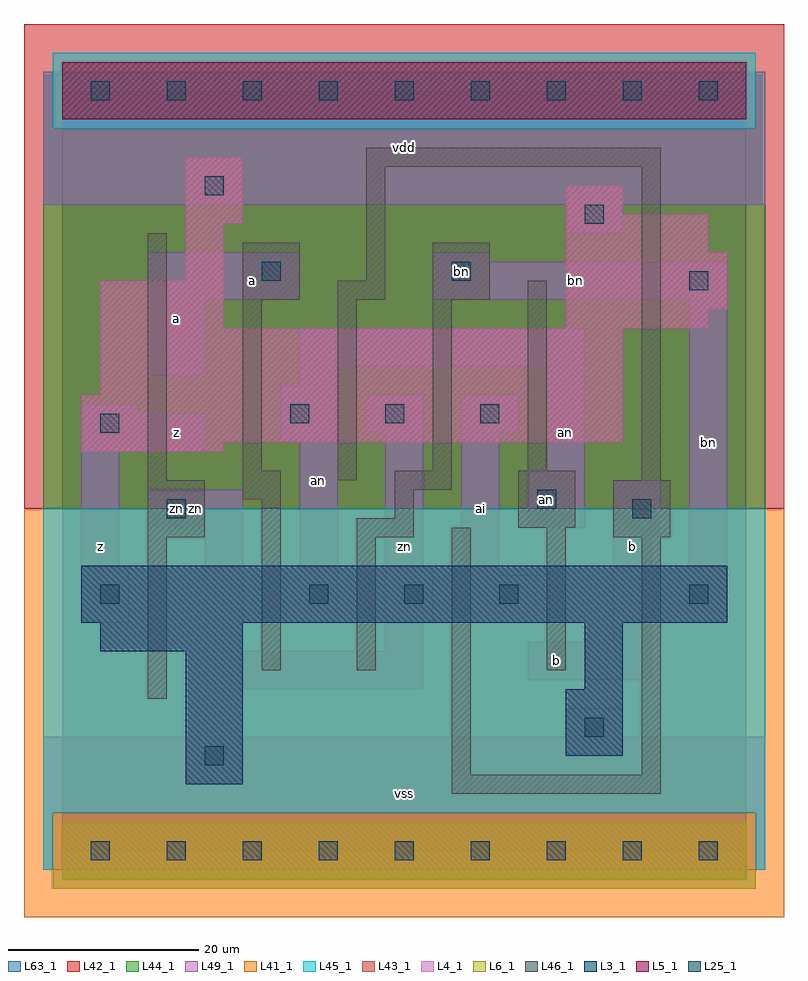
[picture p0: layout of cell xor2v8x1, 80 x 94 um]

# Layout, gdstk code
import gdstk
lib = gdstk.Library(unit=1e-6, precision=1e-09)
def R(c, l, rs):  # rectangles x0, y0, x1, y1
    for r in rs: c.add(gdstk.rectangle(r[:2], r[2:], *l))
def A(c, l, x, y, w, h, nx, ny, dx, dy):  # array of equal rectangles
    R(c, l, [(x+i*dx, y+j*dy, x+i*dx+w, y+j*dy+h) for i in range(nx) for j in range(ny)])
L3_1 = (3, 1)
L4_1 = (4, 1)
L5_1 = (5, 1)
L6_1 = (6, 1)
L25_1 = (25, 1)
L41_1 = (41, 1)
L42_1 = (42, 1)
L43_1 = (43, 1)
L44_1 = (44, 1)
L45_1 = (45, 1)
L46_1 = (46, 1)
L49_1 = (49, 1)
L63_1 = (63, 1)

xor2v8x1 = lib.new_cell('xor2v8x1')
R(xor2v8x1, L3_1, [(13,7,19,21), (53,10,59,17), (55,17,59,24), (4,21,19,24), (2,24,70,30)])
R(xor2v8x1, L4_1, [(2,42,17,43), (2,43,59,48), (4,48,59,55), (4,55,17,60), (53,55,68,57), (53,57,70,63), (13,60,17,66), (53,63,68,67), (13,66,19,73), (53,67,59,70)])
R(xor2v8x1, L5_1, [(0,77,72,83)])
R(xor2v8x1, L6_1, [(0,-3,72,3), (0,-3,72,3)])
A(xor2v8x1, L25_1, 3, -1, 2, 2, 9, 2, 8, 80)
A(xor2v8x1, L25_1, 26, 26, 2, 2, 3, 1, 10, 0)
A(xor2v8x1, L25_1, 24, 45, 2, 2, 3, 1, 10, 0)
R(xor2v8x1, L25_1, [(15,9,17,11), (55,12,57,14), (4,26,6,28), (66,26,68,28), (11,35,13,37), (60,35,62,37), (50,36,52,38), (4,44,6,46), (66,59,68,61), (21,60,23,62), (41,60,43,62), (55,66,57,68), (15,69,17,71)])
R(xor2v8x1, L41_1, [(-4,-7,76,36)])
R(xor2v8x1, L42_1, [(-4,36,76,87)])
R(xor2v8x1, L43_1, [(0,-3,72,3), (13,7,19,21), (53,10,59,17), (55,17,59,24), (4,21,19,24), (2,24,70,30), (2,42,17,43), (2,43,59,48), (4,48,59,55), (4,55,17,60), (53,55,68,57), (53,57,70,63), (13,60,17,66), (53,63,68,67), (13,66,19,73), (53,67,59,70), (0,77,72,83)])
R(xor2v8x1, L44_1, [(-1,-4,73,4), (-2,36,74,76), (-2,76,-1,82), (73,76,74,82)])
R(xor2v8x1, L45_1, [(-2,-2,-1,4), (73,-2,74,4), (-2,4,74,36), (-1,76,73,84)])
R(xor2v8x1, L46_1, [(41,6,63,8), (41,8,43,34), (61,8,63,33), (9,16,11,33), (21,19,23,37), (31,19,33,33), (51,19,53,34), (9,33,15,39), (31,33,37,35), (58,33,64,39), (48,34,54,40), (35,35,37,38), (19,37,23,40), (35,38,41,40), (9,39,11,65), (29,39,31,58), (61,39,63,72), (19,40,21,58), (39,40,41,58), (49,40,51,60), (19,58,25,64), (29,58,34,60), (39,58,45,64), (32,60,34,72), (32,72,63,74)])
R(xor2v8x1, L49_1, [(-2,-2,74,12), (53,12,59,15), (15,17,38,21), (49,18,62,22), (15,21,19,34), (34,21,38,24), (58,22,62,33), (2,24,7,30), (25,24,29,43), (34,24,39,30), (65,24,70,30), (42,25,50,29), (42,29,46,44), (2,30,6,42), (34,30,38,44), (66,30,70,58), (58,33,63,39), (9,34,19,38), (49,34,55,40), (51,40,55,51), (2,42,15,46), (23,43,29,49), (32,44,38,48), (42,44,48,48), (2,46,8,47), (25,49,29,51), (9,50,15,58), (25,51,55,55), (9,58,25,63), (39,58,70,62), (39,62,45,63), (53,65,59,68), (-2,68,74,82)])
R(xor2v8x1, L63_1, [(0,0,72,80)])
xor2v8x1.add(gdstk.Label('zn', (12,36), layer=49, texttype=1))
xor2v8x1.add(gdstk.Label('bn', (42,61), layer=49, texttype=1))
xor2v8x1.add(gdstk.Label('an', (51,37), layer=49, texttype=1))
xor2v8x1.add(gdstk.Label('z', (4,32), layer=49, texttype=1))
xor2v8x1.add(gdstk.Label('z', (12,44), layer=49, texttype=1))
xor2v8x1.add(gdstk.Label('zn', (14,36), layer=49, texttype=1))
xor2v8x1.add(gdstk.Label('a', (12,56), layer=49, texttype=1))
xor2v8x1.add(gdstk.Label('a', (20,60), layer=49, texttype=1))
xor2v8x1.add(gdstk.Label('vss', (36,6), layer=49, texttype=1))
xor2v8x1.add(gdstk.Label('an', (27,39), layer=49, texttype=1))
xor2v8x1.add(gdstk.Label('zn', (36,32), layer=49, texttype=1))
xor2v8x1.add(gdstk.Label('vdd', (36,74), layer=49, texttype=1))
xor2v8x1.add(gdstk.Label('b', (52,20), layer=49, texttype=1))
xor2v8x1.add(gdstk.Label('an', (53,44), layer=49, texttype=1))
xor2v8x1.add(gdstk.Label('ai', (44,36), layer=49, texttype=1))
xor2v8x1.add(gdstk.Label('b', (60,32), layer=49, texttype=1))
xor2v8x1.add(gdstk.Label('bn', (68,43), layer=49, texttype=1))
xor2v8x1.add(gdstk.Label('bn', (54,60), layer=49, texttype=1))

lib.write_gds('xor2v8x1.gds')
